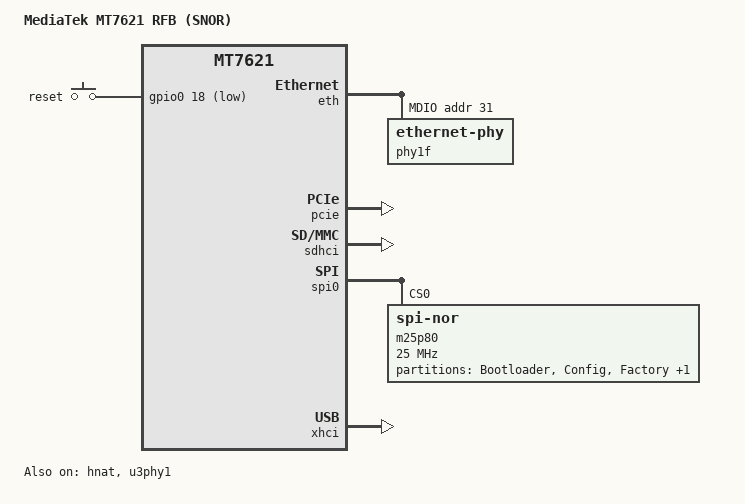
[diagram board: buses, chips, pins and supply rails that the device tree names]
/dts-v1/;

#include "mt7621.dtsi"
#include <dt-bindings/input/input.h>

/ {
	compatible = "mediatek,mt7621-rfb-nor", "mediatek,mt7621-soc";
	model = "MediaTek MT7621 RFB (SNOR)";

	chosen {
		bootargs = "console=ttyS0,115200";
	};

	gpio-keys-polled {
		compatible = "gpio-keys-polled";
		#address-cells = <1>;
		#size-cells = <0>;
		poll-interval = <20>;

		reset {
			label = "reset";
			gpios = <&gpio0 18 1>;
			linux,code = <KEY_RESTART>;
		};
	};
};

&eth {
        status = "okay";

        gmac0: mac@0 {
                compatible = "mediatek,eth-mac";
                reg = <0>;
                phy-mode = "trgmii";
                fixed-link {
                        speed = <1000>;
                        full-duplex;
                        pause;
                };
        };

        gmac1: mac@1 {
                compatible = "mediatek,eth-mac";
                reg = <1>;
                phy-mode = "rgmii";
                fixed-link {
                        speed = <1000>;
                        full-duplex;
                        pause;
                };
        };

        mdio: mdio-bus {
                #address-cells = <1>;
                #size-cells = <0>;

                phy1f: ethernet-phy@1f {
                        reg = <0x1f>;
                        phy-mode = "rgmii";
                };
        };
};

&gsw {
	mediatek,mdio = <&mdio>;
	mediatek,portmap = "llllw";
	mediatek,mcm;
	mt7530,direct-phy-access;

	resets = <&rstctrl 2>;
	reset-names = "mcm";

	port5: port@5 {
		compatible = "mediatek,mt753x-port";
		reg = <5>;
		phy-mode = "rgmii";
		fixed-link {
			speed = <1000>;
			full-duplex;
		};
	};

	port6: port@6 {
		compatible = "mediatek,mt753x-port";
		reg = <6>;
		phy-mode = "trgmii";
		fixed-link {
			speed = <1000>;
			full-duplex;
		};
	};

	mdio-bus {
		#address-cells = <1>;
		#size-cells = <0>;
	};
};

&hnat {
        mtketh-wan = "eth1";
        mtketh-ppd = "eth0";
	ext-devices = "rai0", "ra0", "rai1", "ra1", "rai2", "ra2", "rai3", "ra3", "apclii0", "apcli0";
        mtketh-max-gmac = <2>;
        status = "okay";
};

&pcie {
	status = "okay";
};

&pinctrl {
	state_default: pinctrl0 {
		gpio {
			mtk,group = "i2c", "uart2", "uart3";
			mtk,function = "gpio";
		};
	};
};

&sdhci {
	status = "okay";

	pinctrl-names = "default";
	pinctrl-0 = <&sdhci_pins>;
};

&spi0 {
	status = "okay";

	m25p80@0 {
		#address-cells = <1>;
		#size-cells = <1>;
		compatible = "jedec,spi-nor";
		reg = <0>;
		spi-max-frequency = <25000000>;

		partition@0 {
			label = "Bootloader";
			reg = <0x00000 0x30000>;
		};

		partition@30000 {
			label = "Config";
			reg = <0x30000 0x10000>;
		};

		partition@40000 {
			label = "Factory";
			reg = <0x40000 0x10000>;
		};

		partition@50000 {
			label = "firmware";
			reg = <0x50000 0xfb0000>;
		};
	};
};

&u3phy1 {
	status = "okay";
};

&xhci {
	status = "okay";
};
